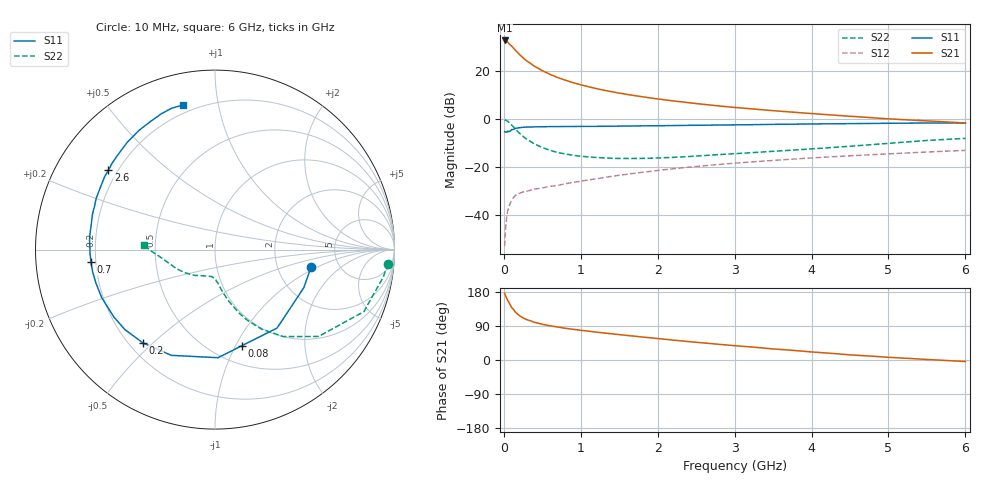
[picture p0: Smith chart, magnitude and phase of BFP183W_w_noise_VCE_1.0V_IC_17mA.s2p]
! Infineon Technologies  Discrete & RF Semiconductors
! BFP183W
! VCE =  1.0 V,  IC =  17 mA
! Common Emitter S-Parameters:  Jan 2017
# GHz  S  MA  R  50
!  f  S11  S21  S12  S22
! GHz  MAG  ANG  MAG  ANG  MAG  ANG  MAG  ANG
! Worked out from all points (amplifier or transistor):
!   77 points, 10 MHz to 6 GHz, reference 50 ohm
!   highest |S21| = 32.6 dB at 10 MHz (marker M1)
!   |S21| within 3 dB of that: start of sweep to 120.5 MHz
!   unconditionally stable (mu >= 1): 1.047 GHz to 4.647 GHz
!   at 130 MHz: K = 0.23, MSG = 30.8 dB, |S12| = -32.5 dB
!   at 2.2 GHz: K = 1.11, MAG = 12.1 dB, |S12| = -20.7 dB
!   at 6 GHz: K = 0.94, MSG = 5.7 dB, |S12| = -13.0 dB
!   lowest NFmin = 1.12 dB at 450 MHz
!   S11 on the Smith chart (normalised r, x): 10 MHz: 3.12, -0.87; 80 MHz: 0.68, -1.06; 200 MHz: 0.25, -0.47; 700 MHz: 0.18, -0.05; 2.6 GHz: 0.16, +0.32; 6 GHz: 0.16, +0.79
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0.01  0.5437 -10.4  42.41 176.1  0.0023 85.5  0.9684 -4.7
0.02  0.5385 -23.1  41.75 170.5  0.0048 84.1  0.9494 -9.3
0.05  0.5574 -51.6  39.1 157.0  0.0124 70.6  0.8988 -22.6
0.08  0.5563 -74.5  34.8 146.9  0.0172 61.2  0.8021 -32.3
0.1  0.6025 -88.4  32.66 138.8  0.0206 57.5  0.753 -40.0
0.15  0.6373 -112.4  26.64 126.4  0.026 48.2  0.6155 -51.9
0.2  0.6568 -127.7  21.95 117.5  0.0285 43.6  0.5126 -59.7
0.25  0.6714 -138.5  18.49 111.0  0.0308 40.2  0.4354 -65.2
0.3  0.6772 -146.5  15.85 106.3  0.0318 38.8  0.3778 -69.3
0.4  0.6858 -157.2  12.33 99.3  0.035 39.9  0.3013 -74.7
0.5  0.6894 -164.4  9.991 94.3  0.0371 40.7  0.2552 -78.3
0.6  0.6931 -169.9  8.41 90.3  0.0401 42.6  0.2236 -81.3
0.7  0.6943 -174.2  7.229 87.0  0.0418 44.2  0.2014 -83.2
0.9  0.6973 178.7  5.648 81.0  0.0482 47.3  0.1767 -87.1
1.1  0.7019 173.1  4.654 76.1  0.0543 50.4  0.1635 -90.1
1.5  0.7104 163.9  3.431 67.0  0.068 52.5  0.1514 -97.6
2.1  0.7257 151.9  2.481 54.6  0.089 53.5  0.1574 -111.4
2.6  0.7407 143.3  2.004 44.9  0.1068 52.4  0.1737 -123.7
3.1  0.7565 135.4  1.68 36.2  0.1242 50.4  0.1945 -135.0
4.1  0.7895 121.3  1.26 19.8  0.1587 45.3  0.2453 -156.2
5.1  0.8155 110.6  0.985 6.0  0.1921 39.3  0.3208 -174.3
6  0.8251 102.6  0.825 -4.1  0.2228 33.4  0.3952 176.6
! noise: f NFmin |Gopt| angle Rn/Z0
0.45  1.12  0.17  164  -0.02
0.9  1.15  0.23  169  0.09
1.9  1.61  0.4  -165  0.08
2.4  1.84  0.44  -159  0.11
